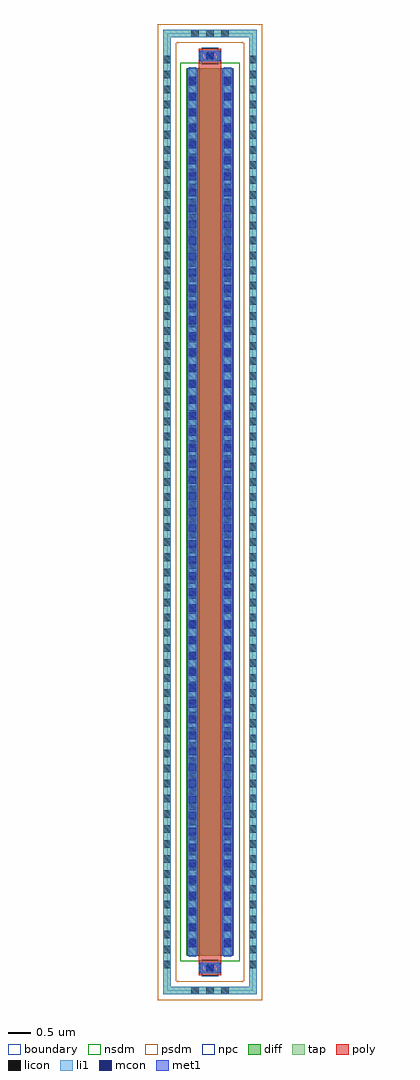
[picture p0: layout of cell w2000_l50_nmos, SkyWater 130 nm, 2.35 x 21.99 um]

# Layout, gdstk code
import gdstk
lib = gdstk.Library(unit=1e-6, precision=1e-09)
def R(c, l, rs):  # rectangles x0, y0, x1, y1
    for r in rs: c.add(gdstk.rectangle(r[:2], r[2:], *l))
def A(c, l, x, y, w, h, nx, ny, dx, dy):  # array of equal rectangles
    R(c, l, [(x+i*dx, y+j*dy, x+i*dx+w, y+j*dy+h) for i in range(nx) for j in range(ny)])
diff = (65, 20)
tap = (65, 44)
poly = (66, 20)
licon = (66, 44)
li1 = (67, 20)
mcon = (67, 44)
met1 = (68, 20)
nsdm = (93, 44)
psdm = (94, 20)
npc = (95, 20)
boundary = (235, 4)

sky130_fd_pr__nfet_01v8 = lib.new_cell('sky130_fd_pr__nfet_01v8')

w2000_l50_nmos = lib.new_cell('w2000_l50_nmos')
R(w2000_l50_nmos, diff, [(-0.54,-10,0.54,10)])
R(w2000_l50_nmos, tap, [(-1.05,-10.87,1.05,-10.7), (-1.05,-10.7,-0.88,10.7), (0.88,-10.7,1.05,10.7), (-1.05,10.7,1.05,10.87)])
R(w2000_l50_nmos, poly, [(-0.25,-10.44,0.25,10.44)])
A(w2000_l50_nmos, licon, -0.425, -10.87, 0.17, 0.17, 3, 2, 0.34, 21.57)
A(w2000_l50_nmos, licon, -1.05, -10.285, 0.17, 0.17, 1, 61, 0, 0.34)
A(w2000_l50_nmos, licon, 0.88, -10.285, 0.17, 0.17, 1, 61, 0, 0.34)
A(w2000_l50_nmos, licon, -0.48, -9.775, 0.17, 0.17, 1, 58, 0, 0.34)
A(w2000_l50_nmos, licon, 0.31, -9.775, 0.17, 0.17, 1, 58, 0, 0.34)
R(w2000_l50_nmos, licon, [(-0.085,-10.36,0.085,-10.19), (-0.085,10.19,0.085,10.36)])
R(w2000_l50_nmos, li1, [(-1.05,-10.87,1.05,-10.7), (-1.05,-10.7,-0.88,10.7), (0.88,-10.7,1.05,10.7), (-0.25,-10.36,0.25,-10.19), (-0.48,-10.02,-0.31,10.02), (0.31,-10.02,0.48,10.02), (-0.25,10.19,0.25,10.36), (-1.05,10.7,1.05,10.87)])
A(w2000_l50_nmos, mcon, -0.48, -9.805, 0.17, 0.17, 1, 55, 0, 0.36)
A(w2000_l50_nmos, mcon, 0.31, -9.805, 0.17, 0.17, 1, 55, 0, 0.36)
R(w2000_l50_nmos, mcon, [(-0.085,-10.36,0.085,-10.19), (-0.085,10.19,0.085,10.36)])
R(w2000_l50_nmos, met1, [(-0.23,-10.39,0.23,-10.16), (-0.51,-10,-0.28,10), (0.28,-10,0.51,10), (-0.23,10.16,0.23,10.39)])
R(w2000_l50_nmos, nsdm, [(-0.665,-10.125,0.665,10.125)])
R(w2000_l50_nmos, psdm, [(-1.175,-10.995,1.175,-10.575), (-1.175,-10.575,-0.755,10.575), (0.755,-10.575,1.175,10.575), (-1.175,10.575,1.175,10.995)])
R(w2000_l50_nmos, npc, [(-0.185,-10.46,0.185,-10.09), (-0.185,10.09,0.185,10.46)])
R(w2000_l50_nmos, boundary, [(-0.965,-10.785,0.965,10.785)])
w2000_l50_nmos.add(gdstk.Reference(sky130_fd_pr__nfet_01v8, (0,0)))

lib.write_gds('w2000_l50_nmos.gds')
